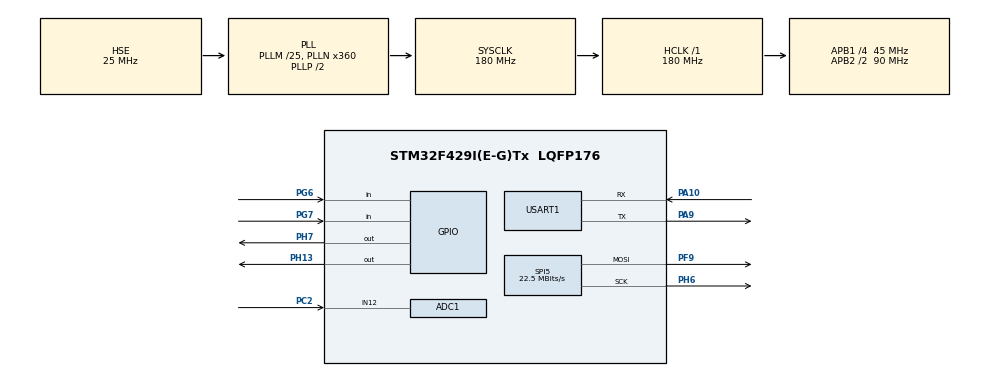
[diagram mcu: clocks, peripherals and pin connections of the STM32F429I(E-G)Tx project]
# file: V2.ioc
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ADC1.Channel-0\#ChannelRegularConversion=ADC_CHANNEL_12
ADC1.DMAContinuousRequests=ENABLE
ADC1.ExternalTrigConv=ADC_EXTERNALTRIGCONV_T3_TRGO
ADC1.NbrOfConversion=1
ADC1.NbrOfConversionFlag=1
ADC1.Rank-0\#ChannelRegularConversion=1
ADC1.SamplingTime-0\#ChannelRegularConversion=ADC_SAMPLETIME_3CYCLES
ADC1.ScanConvMode=DISABLE
ADC1.master=1
Dma.ADC1.0.Direction=DMA_PERIPH_TO_MEMORY
Dma.ADC1.0.FIFOMode=DMA_FIFOMODE_DISABLE
Dma.ADC1.0.Instance=DMA2_Stream0
Dma.ADC1.0.MemDataAlignment=DMA_MDATAALIGN_HALFWORD
Dma.ADC1.0.MemInc=DMA_MINC_ENABLE
Dma.ADC1.0.Mode=DMA_CIRCULAR
Dma.ADC1.0.PeriphDataAlignment=DMA_PDATAALIGN_HALFWORD
Dma.ADC1.0.PeriphInc=DMA_PINC_DISABLE
Dma.ADC1.0.Priority=DMA_PRIORITY_HIGH
Dma.Request0=ADC1
Mcu.Family=STM32F4
Mcu.Name=STM32F429I(E-G)Tx
Mcu.Package=LQFP176
NVIC.ADC_IRQn=true\:0\:0\:false\:false\:true\:true\:true\:true
NVIC.DMA2_Stream0_IRQn=true\:0\:0\:false\:false\:true\:false\:true\:true
NVIC.PriorityGroup=NVIC_PRIORITYGROUP_4
NVIC.TIM6_DAC_IRQn=true\:2\:0\:true\:false\:true\:true\:true\:true
NVIC.USART1_IRQn=true\:0\:0\:true\:false\:true\:true\:true\:true
PA10.Mode=Asynchronous
PA10.Signal=USART1_RX
PA13.Mode=Serial_Wire
PA13.Signal=SYS_JTMS-SWDIO
PA14.Mode=Serial_Wire
PA14.Signal=SYS_JTCK-SWCLK
PA9.Mode=Asynchronous
PA9.Signal=USART1_TX
PC14/OSC32_IN.Mode=LSE-External-Oscillator
PC14/OSC32_IN.Signal=RCC_OSC32_IN
PC15/OSC32_OUT.Mode=LSE-External-Oscillator
PC15/OSC32_OUT.Signal=RCC_OSC32_OUT
PC2.Signal=ADCx_IN12
PF9.GPIO_PuPd=GPIO_PULLUP
PF9.Mode=TX_Only_Simplex_Unidirect_Master
PF9.Signal=SPI5_MOSI
PG6.Signal=GPIO_Input
PG7.Signal=GPIO_Input
PH0/OSC_IN.Mode=HSE-External-Oscillator
PH0/OSC_IN.Signal=RCC_OSC_IN
PH1/OSC_OUT.Mode=HSE-External-Oscillator
PH1/OSC_OUT.Signal=RCC_OSC_OUT
PH13.GPIO_PuPd=GPIO_PULLUP
PH13.GPIO_Speed=GPIO_SPEED_FREQ_VERY_HIGH
PH13.Signal=GPIO_Output
PH6.GPIO_PuPd=GPIO_PULLUP
PH6.Mode=TX_Only_Simplex_Unidirect_Master
PH6.Signal=SPI5_SCK
PH7.GPIO_PuPd=GPIO_PULLUP
PH7.GPIO_Speed=GPIO_SPEED_FREQ_VERY_HIGH
PH7.PinState=GPIO_PIN_SET
PH7.Signal=GPIO_Output
ProjectManager.HeapSize=0x200
ProjectManager.StackSize=0x400
ProjectManager.TargetToolchain=MDK-ARM V5.27
RCC.48MHZClocksFreq_Value=90000000
RCC.AHBFreq_Value=180000000
RCC.APB1CLKDivider=RCC_HCLK_DIV4
RCC.APB1Freq_Value=45000000
RCC.APB1TimFreq_Value=90000000
RCC.APB2CLKDivider=RCC_HCLK_DIV2
RCC.APB2Freq_Value=90000000
RCC.APB2TimFreq_Value=180000000
RCC.CortexFreq_Value=180000000
RCC.HCLKFreq_Value=180000000
RCC.HSE_VALUE=25000000
RCC.HSI_VALUE=16000000
RCC.PLLM=25
RCC.PLLN=360
RCC.PLLSourceVirtual=RCC_PLLSOURCE_HSE
RCC.SYSCLKFreq_VALUE=180000000
RCC.SYSCLKSource=RCC_SYSCLKSOURCE_PLLCLK
RCC.VCOOutputFreq_Value=360000000
SH.ADCx_IN12.0=ADC1_IN12,IN12
SPI5.BaudRatePrescaler=SPI_BAUDRATEPRESCALER_4
SPI5.CalculateBaudRate=22.5 MBits/s
SPI5.Direction=SPI_DIRECTION_2LINES
SPI5.Mode=SPI_MODE_MASTER
SPI5.VirtualType=VM_MASTER
TIM3.AutoReloadPreload=TIM_AUTORELOAD_PRELOAD_ENABLE
TIM3.Period=10-1
TIM3.Prescaler=9000-1
TIM3.TIM_MasterOutputTrigger=TIM_TRGO_UPDATE
TIM6.AutoReloadPreload=TIM_AUTORELOAD_PRELOAD_ENABLE
TIM6.Period=50000
USART1.VirtualMode=VM_ASYNC
VP_TIM3_VS_ClockSourceINT.Mode=Internal
VP_TIM6_VS_ClockSourceINT.Mode=Enable_Timer
board=custom

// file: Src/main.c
/* USER CODE BEGIN Header */
/**
  ******************************************************************************
  * @file           : main.c
  * @brief          : Main program body
  ******************************************************************************
  * @attention
  *
  * <h2><center>&copy; Copyright (c) 2023 STMicroelectronics.
  * All rights reserved.</center></h2>
  *
  * This software component is licensed by ST under BSD 3-Clause license,
  * the "License"; You may not use this file except in compliance with the
  * License. You may obtain a copy of the License at:
  *                        opensource.org/licenses/BSD-3-Clause
  *
  ******************************************************************************
  */
/* USER CODE END Header */

#include "main.h"
#include "adc.h"
#include "dma.h"
#include "spi.h"
#include "tim.h"
#include "usart.h"
#include "gpio.h"
#include <string.h>

/* USER CODE BEGIN Includes */
#include "lcd.h"
#include "lcd_init.h"
#include "pic.h"
#include "delay.h"
#include "stdlib.h"
#include "arm_math.h"
#include <stdio.h>

//定义数据类型
char *strx,*extstrx,*Readystrx;
char RxBuffer[200],Rxcouter;
//extern char RxBuffer[200],Rxcouter;
char *strstr(const char *, const char *);
uint8_t Res;
int len;
int number;
/* USER CODE END Includes */

/* USER CODE BEGIN PTD */
#define numStages 2 /*2阶IIR滤波的个数 */
#define TEST_LENGTH_SAMPLES 3080 /* 采样点数 */
/* USER CODE END PTD */

/* USER CODE BEGIN PV */
uint16_t wave1_data1[ADC_LENGTH]={0};
uint16_t wave1_data2[ADC_LENGTH]={0};
uint16_t adc_data[ADC_LENGTH]={0};

//要发送给腾讯云的数据数组
uint16_t send_data[ADC_LENGTH/20]={0};

//记录屏幕上一幅图每个点的真实坐标（0-240）
uint16_t wave1_data_old[WAVE_XMAX]={0};

static float32_t testInput_f32_50Hz_200Hz[TEST_LENGTH_SAMPLES]; /* 采样点 */

static float32_t testOutput[TEST_LENGTH_SAMPLES]; /*滤波后的输出 */
static float32_t IIRStateF32[4 * numStages]; /*状态缓存,大小numTaps +blockSize- 1*/

/*巴特沃斯带阻滤波器系数49-51Hz*/
const float32_t IIRCoeffs32BS[5 * numStages] = {
1.0f, -1.902150579414243258824512849969323724508f,  1.0f, 1.890851463462387416214482982468325644732f, -0.991033147905535649613284476799890398979f,
1.0f, -1.902150579414243258824512849969323724508f,  1.0f, 1.896548069620123788681098631059285253286f, -0.991274058481610320647803291649324819446f

};

//以下两个变量用于放大缩小波形
float height_limit=3.3;//高度上限，代表3.3V

float width_limit=3;//宽度上限，代表3s

//波形启停功能标志位
uint16_t stopbutton=0;

//用于计数，每隔一段时间发送一次数据
uint16_t cnt_for_send=0;

//DMA搬运地址
uint16_t *p_save_wave1 = wave1_data1;

//绘图获取数据地址
uint16_t *p_draw_wave1 = wave1_data2;

//ADC采集地址
uint16_t *p_adc_wave1 = adc_data;

__IO uint8_t AdcConvEnd = 0;
uint16_t i_limite=0;
/* USER CODE END PV */

void SystemClock_Config(void);
/* USER CODE BEGIN PFP */

//添加数据接收buf
void HAL_UART_RxCpltCallback(UART_HandleTypeDef *huart)
{
UNUSED(huart);
if(huart->Instance ==USART1){
RxBuffer[Rxcouter++] = Res;
HAL_UART_Receive_IT(&huart1, (uint8_t *)&Res, 1);
}
}

//添加接收数据buffer的代码
void Clear_Buffer(void)
{
  uint8_t i;
  for (i = 0; i < Rxcouter; i++)
    RxBuffer[i] = 0;
  Rxcouter = 0;
}

uint16_t FindTriggerPointchen(float triggerV, uint8_t isRise, uint16_t *p_data);
void GetHeartRate(uint16_t *p_data);
void DrawAxis(void);
void WaveClear(void);
static void arm_iir_f32_bs(void);
void ShowGap(float vertical, float horizontal);
void DrawWave(uint16_t *p_old, uint16_t *p_draw,float vertical,float horizontal);
uint16_t FindTriggerPoint(float triggerV, uint8_t isRise, uint16_t *p_data);
void sendDynamicArrayOverMQTT();
/* USER CODE END PFP */

int main(void)
{

  /* MCU Configuration--------------------------------------------------------*/

  /* Reset of all peripherals, Initializes the Flash interface and the Systick. */
  HAL_Init();

  /* Configure the system clock */
  SystemClock_Config();

  /* Initialize all configured peripherals */
  MX_GPIO_Init();
  MX_DMA_Init();
  MX_SPI5_Init();
  MX_ADC1_Init();
  MX_TIM3_Init();
  MX_TIM6_Init();
  MX_USART1_UART_Init();
  /* USER CODE BEGIN 2 */
	delay_init(180);
	LCD_Init();
	LCD_Fill(0,0,LCD_W,LCD_H,WHITE);
	HAL_TIM_Base_Start(&htim3);
	HAL_TIM_Base_Start_IT(&htim6);
	HAL_ADC_Start_DMA(&hadc1, (uint32_t*)p_adc_wave1, ADC_LENGTH);
  HAL_UART_Receive_IT(&huart1,&Res,1);//串口中断接收

	  //模块初始化，等待5秒
		printf("模块初始化");
		HAL_Delay(5000);

		//查询版本信息
		printf("ATI\r\n");
		HAL_Delay(1000);
		strx=strstr((const char*)RxBuffer,(const char*)"Fibocom");
		while(strx==NULL)
		{
			Clear_Buffer();
			printf("查询信息失败");
			HAL_Delay(1000);
			printf("ATI\r\n");
		  HAL_Delay(1000);
			strx=strstr((const char*)RxBuffer,(const char*)"Fibocom");
		}
		Clear_Buffer();
		printf("版本信息正确");
		HAL_Delay(1000);

		//请求IP
		printf("AT+MIPCALL?\r\n");
		HAL_Delay(1000);
		strx=strstr((const char*)RxBuffer,(const char*)"+MIPCALL: 1");
		while(strx==NULL)
		{
			Clear_Buffer();
			printf("还未获取到IP");
			HAL_Delay(1000);
			printf("AT+MIPCALL=1\r\n");
			HAL_Delay(1000);
			strx=strstr((const char*)RxBuffer,(const char*)"+MIPCALL: ");
		}
		Clear_Buffer();
		printf("获取IP成功");
		HAL_Delay(1000);

//设置平台设备信息
		printf("AT+TCDEVINFOSET=1,\"XTRLYBWVYB\",\"L610\",\"cGF2xK1RsUx/sLFBd3YjjQ==\"\r\n");
		HAL_Delay(500);
		strx=strstr((const char*)RxBuffer,(const char*)"+TCDEVINFOSET: OK");
		while(strx==NULL)
		{
			Clear_Buffer();
			printf("平台信息设置失败");
			HAL_Delay(500);
			printf("AT+TCDEVINFOSET=1,\"XTRLYBWVYB\",\"L610\",\"cGF2xK1RsUx/sLFBd3YjjQ==\"\r\n");
			HAL_Delay(500);
			strx=strstr((const char*)RxBuffer,(const char*)"+TCDEVINFOSET: OK");
		}
		Clear_Buffer();
		printf("平台信息设置成功");
		HAL_Delay(500);

//设置连接参数并连接
		printf("AT+TCMQTTCONN=1,20000,240,1,0\r\n");
		HAL_Delay(1000);
		strx=strstr((const char*)RxBuffer,(const char*)"+TCMQTTCONN: OK");
		while(strx==NULL)
		{
			Clear_Buffer();
			printf("连接失败");
			HAL_Delay(2000);
			printf("AT+TCMQTTCONN=1,20000,240,1,0\r\n");
			HAL_Delay(2000);
			strx=strstr((const char*)RxBuffer,(const char*)"+TCMQTTCONN: OK");
		}
		Clear_Buffer();
		printf("连接成功");
		HAL_Delay(2000);

 printf("AT+GTTS=1,\"准备测量\",1\r\n");
 HAL_Delay(1000);

  /* USER CODE END 2 */

  /* Infinite loop */
  /* USER CODE BEGIN WHILE */

//清除缓存
Clear_Buffer();

//主循环
while (1)
{
  if (AdcConvEnd == 1)
  {

    // 将p_draw_wave1的数据复制到testInput_f32_50Hz_200Hz
    // for (int p = 0; p < ADC_LENGTH; p++)
    // {
    //   testInput_f32_50Hz_200Hz[p] = p_draw_wave1[p];
    // }

    // 调用函数arm_iir_f32_bs实现带阻滤波器,滤波后的数据保存在testOutput中
    // arm_iir_f32_bs();

    // 将testOutput的数据复制到p_draw_wave1
    // for (int p = 0; p < ADC_LENGTH; p++)
    // {
    //   p_draw_wave1[p] = testOutput[p] * ScaleValue;
    // }

    GetHeartRate(p_draw_wave1); // 得到频率,其中包含了上传数据的代码

    DrawWave(wave1_data_old, p_draw_wave1, height_limit, width_limit); // 画波形

   //将数据存入send_data数组中，精度变成原来的1/20
     for(int i=1;i<=(ADC_LENGTH/20);i++)
     {
       send_data[i-1]=p_draw_wave1[20*i-1];
    }

  //printf("AT+TCMQTTPUB =\"$thing/up/property/XTRLYBWVYB/L610\",1,\"{\\\"method\\\":\\\"report\\\",\\\"clientToken\\\":\\\"123\\\",\\\"params\\\":{\\\"c1\\\":[1,1,1,1,6,6,6,6,6,6,778,888,1000,1,1,1,1,6,6,6,6,6,6,778,888,1000,1,1,1,1,6,6,6,6,6,6,778,888,1000]}}\"\r\n");

if(send_data[0]!=0){
 printf("AT+TCMQTTPUB=\"$thing/up/property/XTRLYBWVYB/L610\",1,\"{\\\"method\\\":\\\"report\\\",\\\"clientToken\\\":\\\"123\\\",\\\"params\\\":{\\\"c%d\\\":[",cnt_for_send);
    for (int i = 0; i < ADC_LENGTH/20; i++) {
        printf("%d", send_data[i]);
        if (i <ADC_LENGTH/20-1) {
            printf(",");
        }
    }
    printf("]}}\"\r\n");

	 	Clear_Buffer();

  cnt_for_send++;

}

if(cnt_for_send==9){
  cnt_for_send=0;

 printf("AT+GTTS=1,\"医生将在云端收到您的报告\",1\r\n");
delay_ms(500);

  printf("AT+TCMQTTDISCONN\r\n");

}

     AdcConvEnd = 0;
   }

  /* USER CODE END WHILE */

}
}

void SystemClock_Config(void)
{
  RCC_OscInitTypeDef RCC_OscInitStruct = {0};
  RCC_ClkInitTypeDef RCC_ClkInitStruct = {0};

  /** Configure the main internal regulator output voltage
  */
  __HAL_RCC_PWR_CLK_ENABLE();
  __HAL_PWR_VOLTAGESCALING_CONFIG(PWR_REGULATOR_VOLTAGE_SCALE1);
  /** Initializes the CPU, AHB and APB busses clocks
  */
  RCC_OscInitStruct.OscillatorType = RCC_OSCILLATORTYPE_HSE;
  RCC_OscInitStruct.HSEState = RCC_HSE_ON;
  RCC_OscInitStruct.PLL.PLLState = RCC_PLL_ON;
  RCC_OscInitStruct.PLL.PLLSource = RCC_PLLSOURCE_HSE;
  RCC_OscInitStruct.PLL.PLLM = 25;
  RCC_OscInitStruct.PLL.PLLN = 360;
  RCC_OscInitStruct.PLL.PLLP = RCC_PLLP_DIV2;
  RCC_OscInitStruct.PLL.PLLQ = 4;
  if (HAL_RCC_OscConfig(&RCC_OscInitStruct) != HAL_OK)
  {
    Error_Handler();
  }
  /** Activate the Over-Drive mode
  */
  if (HAL_PWREx_EnableOverDrive() != HAL_OK)
  {
    Error_Handler();
  }
  /** Initializes the CPU, AHB and APB busses clocks
  */
  RCC_ClkInitStruct.ClockType = RCC_CLOCKTYPE_HCLK|RCC_CLOCKTYPE_SYSCLK
                              |RCC_CLOCKTYPE_PCLK1|RCC_CLOCKTYPE_PCLK2;
  RCC_ClkInitStruct.SYSCLKSource = RCC_SYSCLKSOURCE_PLLCLK;
  RCC_ClkInitStruct.AHBCLKDivider = RCC_SYSCLK_DIV1;
  RCC_ClkInitStruct.APB1CLKDivider = RCC_HCLK_DIV4;
  RCC_ClkInitStruct.APB2CLKDivider = RCC_HCLK_DIV2;

  if (HAL_RCC_ClockConfig(&RCC_ClkInitStruct, FLASH_LATENCY_5) != HAL_OK)
  {
    Error_Handler();
  }
}

/* USER CODE BEGIN 4 */

//void ShowWave(void)

/*带水平缩放、竖直缩放功能的绘制波形函数*/
void DrawWave(uint16_t *p_old, uint16_t *p_draw,float vertical, float horizontal)
{

static uint8_t isDraw=0;
//第一次绘制波形时，清除历史波形,绘制坐标轴

if(!isDraw)
		{
		WaveClear();
		DrawAxis();
    isDraw=1;
		}
if(	stopbutton==0)//stopbutton是暂停的按钮，按下去以后就不显示波形了
{

//等效垂直高度缩放比例
float vertical_scale=vertical/3.3f;
//等效水平宽度缩放比例
float horizontal_scale=horizontal/3.0f;

  //清除历史波形
  for(int i=0;i<WAVE_XMAX;i++)
	{
    i_limite = (i+1) < WAVE_XMAX ? (i+1) : WAVE_XMAX-1;
   LCD_DrawLine(i, p_old[i], i+1, p_old[i_limite], WHITE);
  }

  ShowGap(height_limit, width_limit);//显示挡位

  //绘制新波形
    for(int i=0;i<WAVE_XMAX;i++)
	{
    if(i)
		{
			i_limite = (i+1) < WAVE_XMAX ? (i+1) : WAVE_XMAX-1;
      //乘以14的原因是：总共p_draw有3080个数据，若每个点之间的间隔是14个数据，则可以画出3080/14=220个点
      int j = i * 14 * horizontal_scale;//强制类型转换
      int k = i_limite * 14 * horizontal_scale;//强制类型转换
      LCD_DrawLine(i, WAVE_XMAX-p_draw[j]*15/(256*vertical_scale), i+1,WAVE_XMAX-p_draw[k]*15/(256*vertical_scale),RED);
	   p_old[i]=WAVE_XMAX-p_draw[j]*15/(256*vertical_scale);

		}
		else
		{

      int k1 = 14 * horizontal_scale;//强制类型转换
			LCD_DrawLine(0, WAVE_XMAX-p_draw[0]*15/(256*vertical_scale), 1,WAVE_XMAX-p_draw[k1]*15/(256*vertical_scale), RED);

       p_old[0]=WAVE_XMAX-p_draw[0]*15/(256*vertical_scale);
		}

    //delay的目的是实现从左到右缓慢画图的效果
   // delay_ms(1);

	}

}

}

//  交换地址
void ChangeWave1Address(void)
{
	uint16_t *p_temp;
	p_temp = p_save_wave1;
	p_save_wave1 = p_draw_wave1;
	p_draw_wave1 = p_temp;
}

// 采集完成回调函数
void HAL_ADC_ConvCpltCallback(ADC_HandleTypeDef* hadc)
{
    if(hadc == &hadc1)
    {
        if(AdcConvEnd == 0)
        {
            AdcConvEnd = 1;
            ChangeWave1Address(); // 地址切换
        }
        // 保存上一次的数据
				memcpy(p_save_wave1,p_adc_wave1,sizeof(wave1_data2));
        // 以新的传输地址开始传输
        HAL_ADC_Start_DMA(&hadc1, (uint32_t *)p_adc_wave1, ADC_LENGTH);
    }
}

/**显示垂直和水平挡位
***vertical 垂直挡位：3.3 6.6 代表垂直方向最大量程3.3v或6.6v
***horizontal 水平挡位：WAVE_KHZ(20)代表一个屏幕显示20k波形的两个周期
**/
void ShowGap(float vertical, float horizontal)
{
  	float showedvertical=vertical;

	LCD_ShowFloatNum1(WAVE_XMAX-20, WAVE_YMAX-41*5, showedvertical, 3, WHITE, BLACK, 16);

	float showhorizontal = horizontal;

  LCD_ShowFloatNum1(WAVE_XMAX-31, WAVE_YMAX-10, showhorizontal*4/5, 3, WHITE, BLACK, 16);

  LCD_ShowFloatNum1(WAVE_XMAX-41*3+10, WAVE_YMAX-10, showhorizontal*2/5,3, WHITE, BLACK, 16);
    LCD_ShowFloatNum1(WAVE_XMAX-41*5+10, WAVE_YMAX-10, 0,3, WHITE, BLACK, 16);
}

//清屏
void WaveClear(void)
{
	LCD_Fill(0,0,240,240,WHITE);
	LCD_Fill(0,0,240,240,WHITE);
}

//绘制坐标轴
void DrawAxis(void)
{
	int i=0;
	for(i=0;i<WAVE_XMAX+10;i+=41)
	{
		LCD_DrawLine(i, WAVE_YMAX+1, i, WAVE_YMAX+10, BLACK);
	}
	for(i=0;i<WAVE_YMAX+10;i+=41)
	{
		LCD_DrawLine(WAVE_XMAX+1, i, WAVE_XMAX+10, i, BLACK);
	}
	LCD_DrawLine(0, WAVE_YMAX+10, WAVE_XMAX+10, WAVE_YMAX+10, BLACK);

	LCD_DrawLine(WAVE_XMAX+10, 0, WAVE_XMAX+10, WAVE_YMAX+10, BLACK);
}

// 通过 MQTT 发送动态数组的函数
void sendDynamicArrayOverMQTT() {

    //printf("AT+TCMQTTPUB =\"$thing/up/property/XTRLYBWVYB/L610\",1,\"{\\\"method\\\":\\\"report\\\",\\\"clientToken\\\":\\\"123\\\",\\\"params\\\":{\\\"c1\\\":[1,1,1,1,6,6,6,6,6,6]}}\"\r\n");

    // Construct the MQTT message with the dynamic array values
    printf("AT+TCMQTTPUB=\"$thing/up/property/XTRLYBWVYB/L610\",1,\"{\\\"method\\\":\\\"report\\\",\\\"clientToken\\\":\\\"123\\\",\\\"params\\\":{\\\"c1\\\":[");

    for (int i = 0; i < ADC_LENGTH/10; i++) {
        printf("%d", send_data[i]);
        if (i <ADC_LENGTH/10-1) {
            printf(",");
        }
    }
    printf("]}}\"\r\n");

	 	Clear_Buffer();

}

//得到心率
void GetHeartRate(uint16_t *p_data)
{
  //以1.5v为触发点，寻找上升沿触发点
	uint16_t triggerPoint = FindTriggerPoint(1.5, 1, p_data+100);
  //以1.5v为触发点，寻找下降沿触发点
	uint16_t downPoint = FindTriggerPoint(1.5,0,100+1+p_data+triggerPoint);

	uint16_t sectriggerPoint=FindTriggerPoint(1.5,1,100+2+p_data+downPoint+triggerPoint);
	uint32_t x_diff=sectriggerPoint+downPoint+2 ;
	float divider = 1000.0 ;
	float freq=60.0*divider/x_diff;//得到心率

  //printf("AT+TCMQTTPUB=\"$thing/up/property/XTRLYBWVYB/L610\",1,\"{\\\"method\\\":\\\"report\\\",\\\"clientToken\\\":\\\"123\\\",\\\"params\\\":{\\\"BPM_in_cloud\\\":1}}\"\r\n");

	LCD_ShowFloatNum1(40, 20, freq, 5, GRAYBLUE, WHITE, 32);
  if(freq>120){
    printf("AT+GTTS=1,\"心率过高\",1\r\n");
    delay_ms(100);

}
 if(freq<60){
    printf("AT+GTTS=1,\"心率过低\",1\r\n");
    delay_ms(100);

}

	 printf("AT+TCMQTTPUB=\"$thing/up/property/XTRLYBWVYB/L610\",1,\"{\\\"method\\\":\\\"report\\\",\\\"clientToken\\\":\\\"123\\\",\\\"params\\\":{\\\"BPM_in_cloud\\\":%f}}\"\r\n",freq);

Clear_Buffer();

	LCD_ShowString(120, 20, (uint8_t *)"BPM", GRAYBLUE, WHITE,32, 0);//BPM是心率的单位

}

//更精准的寻找触发点方法，增加了容错率
uint16_t FindTriggerPointchen(float triggerV, uint8_t isRise, uint16_t *p_data)
{
  uint16_t triggerADC = triggerV/3.3f * ADC_RANGE;
	uint16_t i;
	int8_t ensure = 2;
	int8_t j;
	uint16_t right = 0;
	uint16_t tolerance =20;//容错率
	for(i=ensure+1;i<ADC_LENGTH-1-WAVE_XMAX;i++)
	{
		if(isRise)
		{
			if( (triggerADC<p_data[i])&&p_data[i]<=triggerADC+tolerance)
			{
				for(j=-ensure;j<=ensure;j+=2)
				{
					if(p_data[i+j]>p_data[i+j-1]&&p_data[i+j]<=p_data[i+j+1])
					{
						++right;
					}

				}
				if(right==ensure+1)
				{
					return i;
				}
			}
		}
		else
		{
			for(j=-ensure;j<=ensure;j+=2)
			{
				if(p_data[i+j]<p_data[i+j-1]&&p_data[i+j]>=p_data[i+j+1])
				{
					++right;
				}

			}
			if(right==ensure+1)
			{
				return i;
			}
		}
	}
	return 1;
}

uint16_t FindTriggerPoint(float triggerV, uint8_t isRise, uint16_t *p_data)
{
    uint16_t triggerADC = triggerV/3.3f * ADC_RANGE;
    uint16_t i;
    for(i=1;i<ADC_LENGTH-1-WAVE_XMAX;i++)
    {
        if(isRise)
        {
            if( (triggerADC<p_data[i]) && (p_data[i-1]<p_data[i]) && (p_data[i]<=p_data[i+1]) )
            {
                return i;
            }
        }
        else
        {
            if( (triggerADC<p_data[i]) && (p_data[i-1]>p_data[i]) && (p_data[i]>=p_data[i+1]) )
            {
                return i;
            }
        }
    }
    return 1;
}

/*
函数名:arm_iir_f32_bs
功能说明:调用函数arm_iir_f32_bs实现带阻滤波器
返回值:无
*/
static void arm_iir_f32_bs(void)
{
  uint32_t i;
  arm_biquad_casd_df1_inst_f32 S;

  /* 初始化 */

arm_biquad_cascade_df1_init_f32(&S, numStages, (float32_t *)&IIRCoeffs32BS[0], (float32_t *)&IIRStateF32[0]);
  /* IIR滤波 */
  arm_biquad_cascade_df1_f32(&S, testInput_f32_50Hz_200Hz, testOutput, TEST_LENGTH_SAMPLES);

}

/* USER CODE END 4 */

void Error_Handler(void)
{
}

/************************ (C) COPYRIGHT STMicroelectronics *****END OF FILE****/
